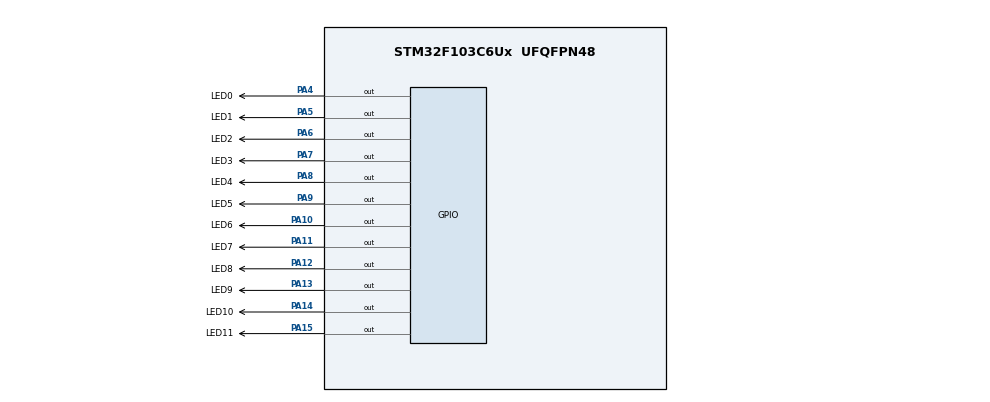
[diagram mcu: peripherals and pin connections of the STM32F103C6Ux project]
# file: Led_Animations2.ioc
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Mcu.Family=STM32F1
Mcu.Name=STM32F103C6Ux
Mcu.Package=UFQFPN48
NVIC.PriorityGroup=NVIC_PRIORITYGROUP_4
PA10.GPIO_Label=LED6
PA10.Signal=GPIO_Output
PA11.GPIO_Label=LED7
PA11.Signal=GPIO_Output
PA12.GPIO_Label=LED8
PA12.Signal=GPIO_Output
PA13.GPIO_Label=LED9
PA13.Signal=GPIO_Output
PA14.GPIO_Label=LED10
PA14.Signal=GPIO_Output
PA15.GPIO_Label=LED11
PA15.Signal=GPIO_Output
PA4.GPIO_Label=LED0
PA4.Signal=GPIO_Output
PA5.GPIO_Label=LED1
PA5.Signal=GPIO_Output
PA6.GPIO_Label=LED2
PA6.Signal=GPIO_Output
PA7.GPIO_Label=LED3
PA7.Signal=GPIO_Output
PA8.GPIO_Label=LED4
PA8.Signal=GPIO_Output
PA9.GPIO_Label=LED5
PA9.Signal=GPIO_Output
ProjectManager.HeapSize=0x200
ProjectManager.StackSize=0x400
ProjectManager.TargetToolchain=STM32CubeIDE
RCC.APB1Freq_Value=8000000
RCC.APB2Freq_Value=8000000
VP_SYS_VS_ND.Mode=No_Debug
board=custom

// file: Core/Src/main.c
/* USER CODE BEGIN Header */
/**
  ******************************************************************************
  * @file           : main.c
  * @brief          : Main program body
  ******************************************************************************
  * @attention
  *
  * <h2><center>&copy; Copyright (c) 2024 STMicroelectronics.
  * All rights reserved.</center></h2>
  *
  * This software component is licensed by ST under BSD 3-Clause license,
  * the "License"; You may not use this file except in compliance with the
  * License. You may obtain a copy of the License at:
  *                        opensource.org/licenses/BSD-3-Clause
  *
  ******************************************************************************
  */
/* USER CODE END Header */
#include "main.h"

void SystemClock_Config(void);
static void MX_GPIO_Init(void);

/* USER CODE BEGIN 0 */
void clearAllClock(){
	HAL_GPIO_WritePin(GPIOA,LED0_Pin | LED1_Pin | LED2_Pin | LED3_Pin | LED4_Pin | LED5_Pin | LED6_Pin | LED7_Pin | LED8_Pin | LED9_Pin | LED10_Pin | LED11_Pin, RESET);
}

void setNumberOnClock(int num){
	switch(num){
	case 0:
		HAL_GPIO_WritePin(LED0_GPIO_Port, LED0_Pin, SET);
		break;
	case 1:
		HAL_GPIO_WritePin(LED1_GPIO_Port, LED1_Pin, SET);
		break;
	case 2:
		HAL_GPIO_WritePin(LED2_GPIO_Port, LED2_Pin, SET);
		break;
	case 3:
		HAL_GPIO_WritePin(LED3_GPIO_Port, LED3_Pin, SET);
		break;
	case 4:
		HAL_GPIO_WritePin(LED4_GPIO_Port, LED4_Pin, SET);
		break;
	case 5:
		HAL_GPIO_WritePin(LED5_GPIO_Port, LED5_Pin, SET);
		break;
	case 6:
		HAL_GPIO_WritePin(LED6_GPIO_Port, LED6_Pin, SET);
		break;
	case 7:
		HAL_GPIO_WritePin(LED7_GPIO_Port, LED7_Pin, SET);
		break;
	case 8:
		HAL_GPIO_WritePin(LED8_GPIO_Port, LED8_Pin, SET);
		break;
	case 9:
		HAL_GPIO_WritePin(LED9_GPIO_Port, LED9_Pin, SET);
		break;
	case 10:
		HAL_GPIO_WritePin(LED10_GPIO_Port, LED10_Pin, SET);
		break;
	case 11:
		HAL_GPIO_WritePin(LED11_GPIO_Port, LED11_Pin, SET);
		break;
	default:
		break;
	}
}

void clearNumberOnClock(int num){
	switch(num){
	case 0:
		HAL_GPIO_WritePin(LED0_GPIO_Port, LED0_Pin, RESET);
		break;
	case 1:
		HAL_GPIO_WritePin(LED1_GPIO_Port, LED1_Pin, RESET);
		break;
	case 2:
		HAL_GPIO_WritePin(LED2_GPIO_Port, LED2_Pin, RESET);
		break;
	case 3:
		HAL_GPIO_WritePin(LED3_GPIO_Port, LED3_Pin, RESET);
		break;
	case 4:
		HAL_GPIO_WritePin(LED4_GPIO_Port, LED4_Pin, RESET);
		break;
	case 5:
		HAL_GPIO_WritePin(LED5_GPIO_Port, LED5_Pin, RESET);
		break;
	case 6:
		HAL_GPIO_WritePin(LED6_GPIO_Port, LED6_Pin, RESET);
		break;
	case 7:
		HAL_GPIO_WritePin(LED7_GPIO_Port, LED7_Pin, RESET);
		break;
	case 8:
		HAL_GPIO_WritePin(LED8_GPIO_Port, LED8_Pin, RESET);
		break;
	case 9:
		HAL_GPIO_WritePin(LED9_GPIO_Port, LED9_Pin, RESET);
		break;
	case 10:
		HAL_GPIO_WritePin(LED10_GPIO_Port, LED10_Pin, RESET);
		break;
	case 11:
		HAL_GPIO_WritePin(LED11_GPIO_Port, LED11_Pin, RESET);
		break;
	default:
		break;
	}
}

void display_time_on_LEDs(int _hour, int _minute, int _second){
	clearAllClock();
	setNumberOnClock(_hour);
	setNumberOnClock(_minute / 5);
	setNumberOnClock(_second / 5);
}
/* USER CODE END 0 */

int main(void)
{

  /* MCU Configuration--------------------------------------------------------*/

  /* Reset of all peripherals, Initializes the Flash interface and the Systick. */
  HAL_Init();

  /* Configure the system clock */
  SystemClock_Config();

  /* Initialize all configured peripherals */
  MX_GPIO_Init();
  /* USER CODE BEGIN 2 */
  //set original state
  int _hour = 0, _minute = 0, _second = 0;
  /* USER CODE END 2 */

  /* Infinite loop */
  /* USER CODE BEGIN WHILE */
  while (1)
  {
	//set time
	if (_second == 60){
		_second = 0;
		_minute++;
	}
	if (_minute == 60){
		_minute = 0;
		_hour++;
	}
	if (_hour == 12)
		_hour = 0;

	//set LEDs
	display_time_on_LEDs(_hour, _minute, _second);

	_second++;
    HAL_Delay(10);
    /* USER CODE END WHILE */

  }
}

void SystemClock_Config(void)
{
  RCC_OscInitTypeDef RCC_OscInitStruct = {0};
  RCC_ClkInitTypeDef RCC_ClkInitStruct = {0};

  /** Initializes the RCC Oscillators according to the specified parameters
  * in the RCC_OscInitTypeDef structure.
  */
  RCC_OscInitStruct.OscillatorType = RCC_OSCILLATORTYPE_HSI;
  RCC_OscInitStruct.HSIState = RCC_HSI_ON;
  RCC_OscInitStruct.HSICalibrationValue = RCC_HSICALIBRATION_DEFAULT;
  RCC_OscInitStruct.PLL.PLLState = RCC_PLL_NONE;
  if (HAL_RCC_OscConfig(&RCC_OscInitStruct) != HAL_OK)
  {
    Error_Handler();
  }

  /** Initializes the CPU, AHB and APB buses clocks
  */
  RCC_ClkInitStruct.ClockType = RCC_CLOCKTYPE_HCLK|RCC_CLOCKTYPE_SYSCLK
                              |RCC_CLOCKTYPE_PCLK1|RCC_CLOCKTYPE_PCLK2;
  RCC_ClkInitStruct.SYSCLKSource = RCC_SYSCLKSOURCE_HSI;
  RCC_ClkInitStruct.AHBCLKDivider = RCC_SYSCLK_DIV1;
  RCC_ClkInitStruct.APB1CLKDivider = RCC_HCLK_DIV1;
  RCC_ClkInitStruct.APB2CLKDivider = RCC_HCLK_DIV1;

  if (HAL_RCC_ClockConfig(&RCC_ClkInitStruct, FLASH_LATENCY_0) != HAL_OK)
  {
    Error_Handler();
  }
}

static void MX_GPIO_Init(void)
{
  GPIO_InitTypeDef GPIO_InitStruct = {0};

  /* GPIO Ports Clock Enable */
  __HAL_RCC_GPIOA_CLK_ENABLE();

  /*Configure GPIO pin Output Level */
  HAL_GPIO_WritePin(GPIOA, LED0_Pin|LED1_Pin|LED2_Pin|LED3_Pin
                          |LED4_Pin|LED5_Pin|LED6_Pin|LED7_Pin
                          |LED8_Pin|LED9_Pin|LED10_Pin|LED11_Pin, GPIO_PIN_RESET);

  /*Configure GPIO pins : LED0_Pin LED1_Pin LED2_Pin LED3_Pin
                           LED4_Pin LED5_Pin LED6_Pin LED7_Pin
                           LED8_Pin LED9_Pin LED10_Pin LED11_Pin */
  GPIO_InitStruct.Pin = LED0_Pin|LED1_Pin|LED2_Pin|LED3_Pin
                          |LED4_Pin|LED5_Pin|LED6_Pin|LED7_Pin
                          |LED8_Pin|LED9_Pin|LED10_Pin|LED11_Pin;
  GPIO_InitStruct.Mode = GPIO_MODE_OUTPUT_PP;
  GPIO_InitStruct.Pull = GPIO_NOPULL;
  GPIO_InitStruct.Speed = GPIO_SPEED_FREQ_LOW;
  HAL_GPIO_Init(GPIOA, &GPIO_InitStruct);

}

void Error_Handler(void)
{
  __disable_irq();
  while (1)
  {
  }
}
